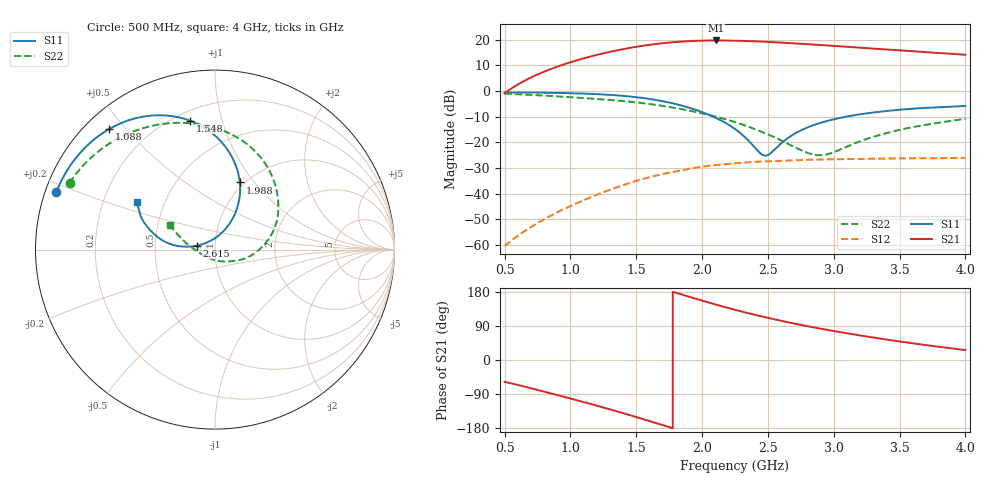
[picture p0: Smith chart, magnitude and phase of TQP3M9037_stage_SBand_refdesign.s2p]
! Project 16: active antenna, S-band (NavIC) branch (RFMW-ANT)
! Generated by Scripts/sband.py from Scripts/ds_data.py; format GHz / RI, Z0 = 50 ohm
! SIMULATED: Qorvo 2.3-2.6 GHz reference design (2.7 nH shunt, 2.4 pF series, 5.6 nH choke, 100 pF)
! around the TQP3M9037 5 V table; [ASSUMED] parasitics.
# GHz S RI R 50.0
!freq ReS11 ImS11 ReS21 ImS21 ReS12 ImS12 ReS22 ImS22
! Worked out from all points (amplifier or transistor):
!   7001 points, 500 MHz to 4 GHz, reference 50 ohm
!   highest |S21| = 19.7 dB at 2.103 GHz (marker M1)
!   |S21| within 3 dB of that: 1.441 GHz to 3.248 GHz (1.807 GHz wide, 77.1 % of centre)
!   unconditionally stable (mu >= 1): start of sweep to end of sweep
!   at 1.083 GHz: K = 2.20, MAG = 21.5 dB, |S12| = -42.9 dB
!   at 2.25 GHz: K = 1.44, MAG = 19.9 dB, |S12| = -28.2 dB
!   at 4 GHz: K = 1.51, MAG = 15.9 dB, |S12| = -26.1 dB
!   S11 on the Smith chart (normalised r, x): 500 MHz: 0.03, +0.18; 1.088 GHz: 0.07, +0.45; 1.548 GHz: 0.26, +0.79; 1.988 GHz: 0.95, +0.85; 2.615 GHz: 0.82, +0.04; 4 GHz: 0.35, +0.25
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0.5  -0.8839 0.3219  0.4863 -0.7641  -0.000947 5.32e-05  -0.8102 0.3714
0.6645  -0.8318 0.4279  0.5282 -1.567  -0.00196 0.000115  -0.654 0.5436
0.8095  -0.7684 0.5188  0.2407 -2.425  -0.00326 0.000317  -0.5007 0.6389
0.9475  -0.6898 0.6  -0.3899 -3.268  -0.00491 0.000785  -0.3493 0.6897
1.0835  -0.5928 0.67  -1.396 -3.98  -0.00694 0.00176  -0.1987 0.7066
1.088  -0.5892 0.6721  -1.436 -4  -0.00701 0.00181  -0.1938 0.7066
1.2175  -0.4777 0.7218  -2.755 -4.393  -0.00929 0.00346  -0.0547 0.6923
1.3325  -0.3657 0.7456  -4.155 -4.384  -0.0115 0.00559  0.06 0.6566
1.442  -0.2515 0.745  -5.584 -3.972  -0.0135 0.00844  0.1594 0.6016
1.548  -0.14 0.7187  -6.926 -3.147  -0.015 0.0121  0.2418 0.5284
1.667  -0.0258 0.6565  -8.18 -1.707  -0.0156 0.0169  0.3086 0.4296
1.831  0.0892 0.5249  -9.09 0.9125  -0.0144 0.0242  0.3508 0.2834
1.988  0.1383 0.3743  -8.874 3.604  -0.0109 0.0314  0.3418 0.1503
2.103  0.1333 0.2697  -8.051 5.35  -0.00719 0.0353  0.3086 0.0737
2.25  0.0899 0.1586  -6.466 7.057  -0.00138 0.039  0.248 0.0014
2.423  0.00607 0.0678  -4.261 8.226  0.00646 0.0415  0.1648 -0.0501
2.6155  -0.1005 0.0223  -1.867 8.53  0.0145 0.0413  0.0815 -0.0653
2.8335  -0.2097 0.0205  0.4309 8.07  0.0226 0.0401  -0.00106 -0.0587
3.1055  -0.3139 0.0655  2.461 6.821  0.0312 0.0355  -0.0811 -0.0212
3.417  -0.3873 0.1405  3.847 5.132  0.0383 0.0299  -0.1524 0.0291
3.6805  -0.4192 0.2042  4.403 3.728  0.0425 0.0245  -0.2015 0.0773
4  -0.436 0.2665  4.573 2.241  0.046 0.0182  -0.2528 0.1354
